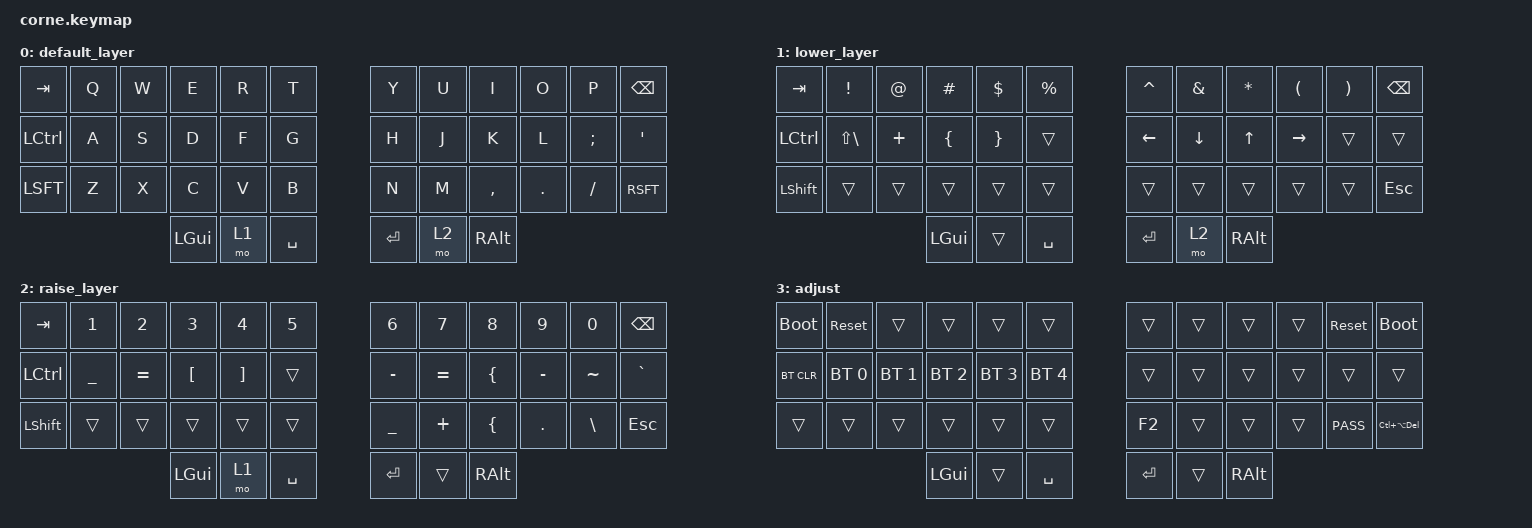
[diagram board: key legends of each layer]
/*
 * Copyright (c) 2020 The ZMK Contributors
 *
 * SPDX-License-Identifier: MIT
 */

#include <behaviors.dtsi>
#include <dt-bindings/zmk/keys.h>
#include <dt-bindings/zmk/bt.h>

/ {
        keymap {
                compatible = "zmk,keymap";

                default_layer {
                        bindings = <
  //,-----------------------------------------------------.                    ,-----------------------------------------------------.
       &kp TAB    &kp Q    &kp W    &kp E    &kp R    &kp T                         &kp Y    &kp U    &kp I    &kp O   &kp P  &kp BSPC
  //|--------+--------+--------+--------+--------+--------|                    |--------+--------+--------+--------+--------+--------|
      &kp LCTL    &kp A    &kp S    &kp D    &kp F    &kp G                         &kp H    &kp J    &kp K    &kp L &kp SEMI &kp SQT
  //|--------+--------+--------+--------+--------+--------|                    |--------+--------+--------+--------+--------+--------|
      &kp LSFT    &kp Z    &kp X    &kp C    &kp V    &kp B                         &kp N    &kp M &kp COMMA  &kp DOT &kp FSLH &kp RSFT
  //|--------+--------+--------+--------+--------+--------+--------|  |--------+--------+--------+--------+--------+--------+--------|
                                          &kp LGUI  &mo 1  &kp SPACE     &kp RET   &mo 2 &kp RALT
                                      //`--------------------------'  `--------------------------'
                        
                        >;
                };
                lower_layer{
                        bindings = <
  //,-----------------------------------------------------.                    ,-----------------------------------------------------.
     &kp TAB  &kp EXCL  &kp AT  &kp HASH  &kp DLLR &kp PRCNT                     &kp CARET &kp AMPS &kp ASTRK &kp LPAR &kp RPAR &kp BSPC
  //|--------+--------+--------+--------+--------+--------|                    |--------+--------+--------+--------+--------+--------|
     &kp LCTL &kp LS(BSLH) &kp PLUS &kp LBRC &kp RBRC &trans                   &kp LEFT &kp DOWN  &kp UP  &kp RIGHT &trans  &trans
  //|--------+--------+--------+--------+--------+--------|                    |--------+--------+--------+--------+--------+--------|
     &kp LSHFT &trans &trans   &trans   &trans   &trans                          &trans &trans   &trans   &trans   &trans   &kp ESC
  //|--------+--------+--------+--------+--------+--------+--------|  |--------+--------+--------+--------+--------+--------+--------|
                                          &kp LGUI &trans &kp SPACE   &kp RET   &mo 2 &kp RALT
                                      //`--------------------------'  `--------------------------'
                        >;
                };
        
                raise_layer {
                        bindings = <
  //,-----------------------------------------------------.                    ,-----------------------------------------------------.
      &kp TAB   &kp N1  &kp N2  &kp N3   &kp N4   &kp N5                        &kp N6    &kp N7    &kp N8    &kp N9   &kp N0  &kp BSPC
  //|--------+--------+--------+--------+--------+--------|                    |--------+--------+--------+--------+--------+--------|
      &kp LCTL  &kp UNDER &kp EQUAL &kp LBKT &kp RBKT &trans                     &kp MINUS  &kp EQUAL &kp LBRC &kp MINUS &kp TILDE &kp GRAVE
  //|--------+--------+--------+--------+--------+--------|                    |--------+--------+--------+--------+--------+--------|
      &kp LSHFT &trans &trans  &trans   &trans   &trans                        &kp UNDER &kp PLUS &kp LBRC &kp DOT &kp BSLH   &kp ESC
  //|--------+--------+--------+--------+--------+--------+--------|  |--------+--------+--------+--------+--------+--------+--------|
                                          &kp LGUI   &mo 1  &kp SPACE     &kp RET &trans &kp RALT
                                      //`--------------------------'  `--------------------------'
                        >;
                };


                adjust {
                        bindings = <
  //,-----------------------------------------------------.                    ,-----------------------------------------------------.
      &bootloader  &sys_reset &trans &trans  &trans &trans                      &trans  &trans   &trans  &trans   &sys_reset &bootloader
  //|--------+--------+--------+--------+--------+--------|                    |--------+--------+--------+--------+--------+--------|
     &bt BT_CLR &bt BT_SEL 0 &bt BT_SEL 1 &bt BT_SEL 2  &bt BT_SEL 3  &bt BT_SEL 4 &trans &trans  &trans  &trans   &trans   &trans
  //|--------+--------+--------+--------+--------+--------|                    |--------+--------+--------+--------+--------+--------|
     &trans  &trans   &trans   &trans   &trans   &trans                         &kp F2   &trans   &trans   &trans    &PASS   &kp LC(LA(DEL))
  //|--------+--------+--------+--------+--------+--------+--------|  |--------+--------+--------+--------+--------+--------+--------|
                                          &kp LGUI &trans  &kp SPACE     &kp RET &trans &kp RALT
                                      //`--------------------------'  `--------------------------'
                        >;
                };
        };
};

/ {
    conditional_layers {
        compatible = "zmk,conditional-layers";
        tri_layer {
            if-layers = <1 2>;
            then-layer = <3>;
        };
    };
};

/ {
    macros {
        PASS: PASS {
            compatible = "zmk,behavior-macro";
            #binding-cells = <0>;
            bindings
                = <&macro_press &kp LSHFT>
                , <&macro_tap &kp L>
                , <&macro_release &kp LSHFT>
                , <&macro_tap &kp I &kp F &kp E &kp L &kp I &kp N &kp E &kp N8 &kp N3 &kp EXCL &kp EXCL>
                ;
        };
    };
};

